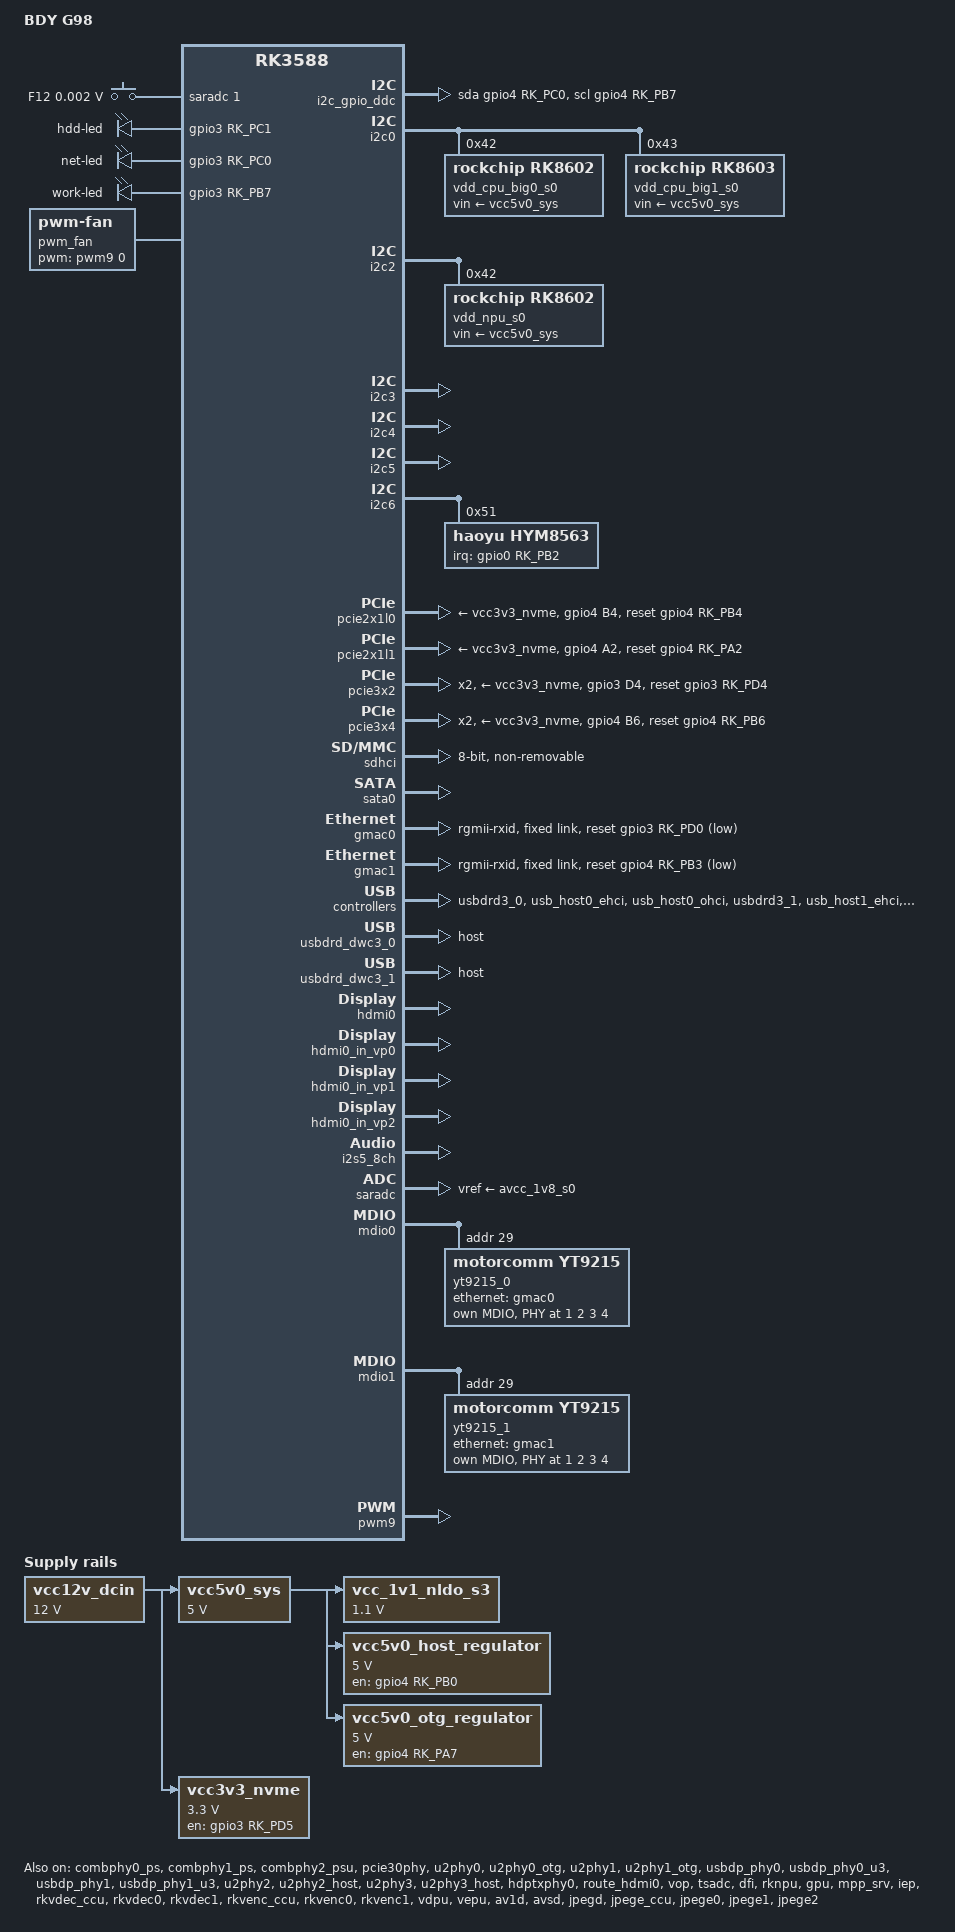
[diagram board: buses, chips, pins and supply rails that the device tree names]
// SPDX-License-Identifier: (GPL-2.0+ OR MIT)

/dts-v1/;

#include <dt-bindings/gpio/gpio.h>
#include <dt-bindings/input/input.h>
#include <dt-bindings/pinctrl/rockchip.h>
#include <dt-bindings/display/rockchip_vop.h>
#include "rk3588.dtsi"
#include "rk3588-rk806-single.dtsi"
#include "rk3588-linux.dtsi"

/ {
	model = "BDY G98";
	compatible = "bdy,bdy-g98", "rockchip,rk3588";

	aliases {
		mmc0 = &sdmmc;
		mmc1 = &sdio;
		mmc2 = &sdhci;
		ethernet0 = &gmac0;
		ethernet1 = &gmac1;
	};

	chosen {
		stdout-path = "serial2:1500000n8";

		/delete-property/ bootargs;
	};

	/*
	 * HDMI DDC over bitbanged GPIO. The dw-hdmi hardware DDC path on the
	 * hdmim0_tx0 pins only produces "i2c read err!" on this board; drive
	 * the same physical pins (GPIO4_B7=SCL, GPIO4_C0=SDA) with i2c-gpio.
	 */
	i2c_gpio_ddc: i2c-gpio-ddc {
		compatible = "i2c-gpio";
		#address-cells = <1>;
		#size-cells = <0>;
		scl-gpios = <&gpio4 RK_PB7 GPIO_ACTIVE_HIGH>;
		sda-gpios = <&gpio4 RK_PC0 GPIO_ACTIVE_HIGH>;
		i2c-gpio,delay-us = <5>;
		status = "okay";
	};

	/* System SRAM1 (1MB); first 512KB reserved for the rknpu driver. */
	sram@fd600000 {
		compatible = "mmio-sram";
		reg = <0x0 0xfd600000 0x0 0x100000>;
		#address-cells = <1>;
		#size-cells = <1>;
		ranges = <0x0 0x0 0xfd600000 0x100000>;

		rknpu_sram: rknpu-sram@0 {
			reg = <0x0 0x80000>;
		};
	};

	reserved-memory {
		cma {
			alloc-ranges = <0x1 0x00000000 0x3 0x00000000>;
			size = <0x0 0x20000000>;
		};
	};

	adc-keys {
		compatible = "adc-keys";
		io-channel-names = "buttons";
		io-channels = <&saradc 1>;
		keyup-threshold-microvolt = <0x1b7740>;
		poll-interval = <0x64>;
		status = "okay";

		recovery-key {
			label = "F12";
			linux,code = <0x58>;
			press-threshold-microvolt = <0x6d6>;
		};
	};

	// vcc12v_dcin
	vcc12v_dcin: vcc12v-dcin {
		compatible = "regulator-fixed";
		regulator-always-on;
		regulator-boot-on;
		regulator-min-microvolt = <12000000>;
		regulator-max-microvolt = <12000000>;
		regulator-name = "vcc12v_dcin";
	};

	// vcc5v0_sys
	vcc5v0_sys: vcc5v0-sys {
		compatible = "regulator-fixed";
		regulator-always-on;
		regulator-boot-on;
		regulator-min-microvolt = <5000000>;
		regulator-max-microvolt = <5000000>;
		regulator-name = "vcc5v0_sys";
		vin-supply = <&vcc12v_dcin>;
	};

	// vcc_1v1_nldo_s3
	vcc_1v1_nldo_s3: regulator-vcc-1v1-nldo-s3 {
		compatible = "regulator-fixed";
		regulator-name = "vcc_1v1_nldo_s3";
		regulator-always-on;
		regulator-boot-on;
		regulator-min-microvolt = <1100000>;
		regulator-max-microvolt = <1100000>;
		vin-supply = <&vcc5v0_sys>;
	};

	// vcc3v3-pcie30
	vcc3v3_nvme: vcc3v3-nvme {
		compatible = "regulator-fixed";
		regulator-min-microvolt = <3300000>;
		regulator-max-microvolt = <3300000>;
		regulator-name = "vcc3v3_nvme";
		vin-supply = <&vcc12v_dcin>;
		enable-active-high;
		gpios = <&gpio3 RK_PD5 GPIO_ACTIVE_HIGH>;
		startup-delay-us = <7500>;
		pinctrl-names = "default";
		pinctrl-0 = <&nvme_power_en>;
	};

	/*
	 * vcc5v0-host-regulator
	 * NOTE: the singular "gpio" property is not parsed by the fixed
	 * regulator driver (only "gpios"/"enable-gpios" are); kept as-is
	 * from the validated mainline dts — the pin is only muxed to GPIO
	 * by pinctrl and VBUS switch enable floats active on this board.
	 */
	vcc5v0_host_regulator: vcc5v0-host-regulator {
		compatible = "regulator-fixed";
		enable-active-high;
		gpio = <&gpio4 RK_PB0 GPIO_ACTIVE_HIGH>;
		pinctrl-names = "default";
		pinctrl-0 = <&vcc5v0_host_en>;
		regulator-name = "vcc5v0_host";
		regulator-boot-on;
		regulator-always-on;
		regulator-min-microvolt = <5000000>;
		regulator-max-microvolt = <5000000>;
		vin-supply = <&vcc5v0_sys>;
	};

	// vcc5v0-otg-regulator (same singular "gpio" caveat as above)
	vcc5v0_otg_regulator: vcc5v0-otg-regulator {
		compatible = "regulator-fixed";
		enable-active-high;
		gpio = <&gpio4 RK_PA7 GPIO_ACTIVE_HIGH>;
		pinctrl-names = "default";
		pinctrl-0 = <&vcc5v0_otg_en>;
		regulator-min-microvolt = <5000000>;
		regulator-max-microvolt = <5000000>;
		regulator-name = "vcc5v0_otg";
		vin-supply = <&vcc5v0_sys>;
	};

	leds {
		compatible = "gpio-leds";
		status = "okay";

		hdd-led {
			default-state = "off";
			gpios = <&gpio3 RK_PC1 GPIO_ACTIVE_HIGH>;
		};

		net-led {
			default-state = "off";
			gpios = <&gpio3 RK_PC0 GPIO_ACTIVE_HIGH>;
		};

		work-led {
			gpios = <&gpio3 RK_PB7 GPIO_ACTIVE_HIGH>;
			linux,default-trigger = "heartbeat";
		};
	};

	/* HDMI audio: i2s5_8ch -> hdmi0 (BSP "rockchip,hdmi" machine) */
	hdmi0_sound: hdmi0-sound {
		compatible = "rockchip,hdmi";
		rockchip,mclk-fs = <128>;
		rockchip,card-name = "rockchip-hdmi0";
		rockchip,cpu = <&i2s5_8ch>;
		rockchip,codec = <&hdmi0>;
		rockchip,jack-det;
		status = "okay";
	};

	pwm_fan: pwm-fan {
		compatible = "pwm-fan";
		pwms = <&pwm9 0 50000 0>;
		#cooling-cells = <2>;
		pulses-per-revolution = <2>;
		status = "okay";
	};
};

/* ===== CPU Power ===== */

&cpu_l0 {
	cpu-supply = <&vdd_cpu_lit_s0>;
	mem-supply = <&vdd_cpu_lit_s0>;
};

&cpu_l1 {
	cpu-supply = <&vdd_cpu_lit_s0>;
	mem-supply = <&vdd_cpu_lit_s0>;
};

&cpu_l2 {
	cpu-supply = <&vdd_cpu_lit_s0>;
	mem-supply = <&vdd_cpu_lit_s0>;
};

&cpu_l3 {
	cpu-supply = <&vdd_cpu_lit_s0>;
	mem-supply = <&vdd_cpu_lit_s0>;
};

&cpu_b0 {
	cpu-supply = <&vdd_cpu_big0_s0>;
	mem-supply = <&vdd_cpu_big0_s0>;
};

&cpu_b1 {
	cpu-supply = <&vdd_cpu_big0_s0>;
	mem-supply = <&vdd_cpu_big0_s0>;
};

&cpu_b2 {
	cpu-supply = <&vdd_cpu_big1_s0>;
	mem-supply = <&vdd_cpu_big1_s0>;
};

&cpu_b3 {
	cpu-supply = <&vdd_cpu_big1_s0>;
	mem-supply = <&vdd_cpu_big1_s0>;
};

&i2c0 {
	pinctrl-names = "default";
	pinctrl-0 = <&i2c0m2_xfer>;
	status = "okay";

	vdd_cpu_big0_s0: vdd_cpu_big0_mem_s0: rk8602@42 {
		compatible = "rockchip,rk8602";
		reg = <0x42>;
		rockchip,suspend-voltage-selector = <1>;
		regulator-compatible = "rk860x-reg";
		regulator-name = "vdd_cpu_big0_s0";
		regulator-always-on;
		regulator-boot-on;
		regulator-min-microvolt = <550000>;
		regulator-max-microvolt = <1050000>;
		regulator-ramp-delay = <2300>;
		vin-supply = <&vcc5v0_sys>;

		regulator-state-mem {
			regulator-off-in-suspend;
		};
	};

	vdd_cpu_big1_s0: vdd_cpu_big1_mem_s0: rk8603@43 {
		compatible = "rockchip,rk8603";
		reg = <0x43>;
		rockchip,suspend-voltage-selector = <1>;
		regulator-compatible = "rk860x-reg";
		regulator-name = "vdd_cpu_big1_s0";
		regulator-always-on;
		regulator-boot-on;
		regulator-min-microvolt = <550000>;
		regulator-max-microvolt = <1050000>;
		regulator-ramp-delay = <2300>;
		vin-supply = <&vcc5v0_sys>;

		regulator-state-mem {
			regulator-off-in-suspend;
		};
	};
};

/* ===== PMIC (rk806, via shared rk3588-rk806-single.dtsi) ===== */

&rk806single {
	system-power-controller;
};

/* ===== Suspend / poweroff ===== */

&rockchip_suspend {
	rockchip,virtual-poweroff = <1>;
	status = "okay";
};

/* ===== I2C / RTC ===== */

// i2c@fea90000
&i2c1 {
	pinctrl-names = "default";
	pinctrl-0 = <&i2c1m0_xfer>;
	status = "disabled";
};

// i2c2: i2c@feaa0000
&i2c2 {
	pinctrl-names = "default";
	pinctrl-0 = <&i2c2m0_xfer>;
	status = "okay";

	/* NPU core/mem rails are tied to the same rk8602 on this board */
	vdd_npu_s0: vdd_npu_mem_s0: rk8602@42 {
		compatible = "rockchip,rk8602";
		reg = <0x42>;
		rockchip,suspend-voltage-selector = <1>;
		regulator-compatible = "rk860x-reg";
		regulator-name = "vdd_npu_s0";
		regulator-always-on;
		regulator-boot-on;
		regulator-enable-ramp-delay = <500>;
		regulator-min-microvolt = <550000>;
		regulator-max-microvolt = <950000>;
		regulator-ramp-delay = <2300>;
		vin-supply = <&vcc5v0_sys>;

		regulator-state-mem {
			regulator-off-in-suspend;
		};
	};
};

// i2c3: i2c@feab0000
&i2c3 {
	pinctrl-names = "default";
	pinctrl-0 = <&i2c3m0_xfer>;
	status = "okay";
};

// i2c4: i2c@feac0000
&i2c4 {
	pinctrl-names = "default";
	pinctrl-0 = <&i2c4m3_xfer>;
	status = "okay";
};

// i2c5: i2c@fead0000 (dtsi default pinctrl: i2c5m0_xfer)
&i2c5 {
	status = "okay";
};

// i2c6: i2c@fec80000
&i2c6 {
	pinctrl-names = "default";
	pinctrl-0 = <&i2c6m0_xfer>;
	status = "okay";

	hym8563: rtc@51 {
		compatible = "haoyu,hym8563";
		reg = <0x51>;
		#clock-cells = <0>;
		clock-output-names = "hym8563";
		pinctrl-names = "default";
		pinctrl-0 = <&hym8563_int>;
		interrupt-parent = <&gpio0>;
		interrupts = <RK_PB2 IRQ_TYPE_LEVEL_LOW>;
		wakeup-source;
	};
};

/* ===== PCIe ===== */

// phy: phy@fee00000
&combphy0_ps {
	pinctrl-0 = <&sata0_pm_reset>;
	pinctrl-names = "default";
	status = "okay";
};

// phy: phy@fee10000
&combphy1_ps {
	status = "okay";
};

// phy: phy@fee20000
&combphy2_psu {
	status = "okay";
};

/*
 * phy: phy@fee80000
 * Mainline used data-lanes = <1 1 2 2> (lanes 0-1 -> PCIe3x4,
 * lanes 2-3 -> PCIe3x2); BSP expresses the same x2+x2 split as
 * PHY_MODE_PCIE_NANBNB (P1:PCIe3x2 + P0:PCIe3x2).
 */
&pcie30phy {
	rockchip,pcie30-phymode = <PHY_MODE_PCIE_NANBNB>;
	status = "okay";
};

// pcie2x1l0: pcie@fe170000 -> RTL8125 (0002:21:00.0)
&pcie2x1l0 {
	compatible = "rockchip,rk3588-pcie", "rockchip,rk3568-pcie";
	pinctrl-names = "default";
	pinctrl-0 = <&pcie2_0_rst>;
	supports-clkreq;
	/* Some board revisions wire PERST# to GPIO4_PB4 instead of GPIO1_PB4 */
	reset-gpios = <&gpio4 RK_PB4 GPIO_ACTIVE_HIGH>;
	vpcie3v3-supply = <&vcc3v3_nvme>;
	status = "okay";

	pcie@0,0 {
		reg = <0x00200000 0 0 0 0>;
		#address-cells = <3>;
		#size-cells = <2>;
		bus-range = <0x20 0x2f>;
		device_type = "pci";
		ranges;

		ethernet@0,0 {
			reg = <0x00210000 0 0 0 0>;
			r8125,led0 = <0x22b>;
			r8125,led1 = <0x22b>;
			r8125,led2 = <0x22b>;
			r8125,led3 = <0x22b>;
		};
	};
};

// pcie2x1l1: pcie@fe180000 -> RTL8125 (0003:31:00.0)
&pcie2x1l1 {
	compatible = "rockchip,rk3588-pcie", "rockchip,rk3568-pcie";
	pinctrl-names = "default";
	pinctrl-0 = <&pcie2_1_rst>;
	supports-clkreq;
	reset-gpios = <&gpio4 RK_PA2 GPIO_ACTIVE_HIGH>;
	vpcie3v3-supply = <&vcc3v3_nvme>;
	status = "okay";

	/* Same blank-EEPROM LED fix as pcie2x1l0 (endpoint 0003:31:00.0) */
	pcie@0,0 {
		reg = <0x00300000 0 0 0 0>;
		#address-cells = <3>;
		#size-cells = <2>;
		bus-range = <0x30 0x3f>;
		device_type = "pci";
		ranges;

		ethernet@0,0 {
			reg = <0x00310000 0 0 0 0>;
			r8125,led0 = <0x22b>;
			r8125,led1 = <0x22b>;
			r8125,led2 = <0x22b>;
			r8125,led3 = <0x22b>;
		};
	};
};

// pcie2x1l2: pcie@fe190000
&pcie2x1l2 {
	compatible = "rockchip,rk3588-pcie", "rockchip,rk3568-pcie";
	status = "disabled";
};

// pcie3x2: pcie@fe160000
&pcie3x2 {
	compatible = "rockchip,rk3588-pcie", "rockchip,rk3568-pcie";
	pinctrl-names = "default";
	pinctrl-0 = <&pcie3x2_rst>;
	num-lanes = <2>;
	reset-gpios = <&gpio3 RK_PD4 GPIO_ACTIVE_HIGH>;
	vpcie3v3-supply = <&vcc3v3_nvme>;
	status = "okay";
};

// pcie3x4: pcie@fe150000
&pcie3x4 {
	compatible = "rockchip,rk3588-pcie", "rockchip,rk3568-pcie";
	pinctrl-names = "default";
	pinctrl-0 = <&pcie3x4_rst>;
	num-lanes = <2>;
	reset-gpios = <&gpio4 RK_PB6 GPIO_ACTIVE_HIGH>;
	vpcie3v3-supply = <&vcc3v3_nvme>;
	status = "okay";
};

/* ===== Pin Control ===== */

&pinctrl {
	hym8563 {
		hym8563_int: hym8563-int {
			rockchip,pins = <0 RK_PB2 RK_FUNC_GPIO &pcfg_pull_up>;
		};
	};

	pcie {
		pcie2_0_rst: pcie2-0-rst {
			rockchip,pins = <4 RK_PB4 RK_FUNC_GPIO &pcfg_pull_none>;
		};

		pcie2_1_rst: pcie2-1-rst {
			rockchip,pins = <4 RK_PA2 RK_FUNC_GPIO &pcfg_pull_none>;
		};

		pcie3x2_rst: pcie3x2-rst {
			rockchip,pins = <3 RK_PD4 RK_FUNC_GPIO &pcfg_pull_none>;
		};

		pcie3x4_rst: pcie3x4-rst {
			rockchip,pins = <4 RK_PB6 RK_FUNC_GPIO &pcfg_pull_none>;
		};
	};

	nvme {
		nvme_power_en: nvme-power-en {
			rockchip,pins = <3 RK_PD5 RK_FUNC_GPIO &pcfg_pull_none>;
		};
	};

	usb {
		vcc5v0_host_en: vcc5v0-host-en {
			rockchip,pins = <4 RK_PB0 RK_FUNC_GPIO &pcfg_pull_none>;
		};

		vcc5v0_otg_en: vcc5v0-otg-en {
			rockchip,pins = <4 RK_PA7 RK_FUNC_GPIO &pcfg_pull_none>;
		};
	};

	sata {
		sata0_pm_reset: sata0-pm-reset {
			rockchip,pins = <0 RK_PD5 RK_FUNC_GPIO &pcfg_output_high>;
		};
	};
};

/* ===== Storage ===== */

// sdhci: mmc@fe2e0000
&sdhci {
	pinctrl-names = "default";
	pinctrl-0 = <&emmc_clk &emmc_cmd &emmc_bus8 &emmc_data_strobe &emmc_rstnout>;
	bus-width = <8>;
	no-sdio;
	no-sd;
	supports-emmc;
	non-removable;
	mmc-hs200-1_8v;
	status = "okay";
};

// sdmmc: mmc@fe2c0000
&sdmmc {
	status = "disabled";
};

// sdio: mmc@fe2d0000
&sdio {
	/delete-property/ pinctrl-0;
	/delete-property/ pinctrl-names;
	status = "disabled";
};

/* ===== SATA ===== */

// sata0: sata@fe210000
&sata0 {
	status = "okay";
};

/* ===== Ethernet ===== */

// gmac0: ethernet@fe1b0000
&gmac0 {
	clock_in_out = "output";
	phy-mode = "rgmii-rxid";
	tx_delay = <0x44>;
	pinctrl-0 = <&gmac0_miim &gmac0_tx_bus2 &gmac0_rx_bus2 &gmac0_rgmii_clk &gmac0_rgmii_bus>;
	pinctrl-names = "default";
	snps,reset-active-low;
	snps,reset-delays-us = <0x00 0x4e20 0x186a0>;
	snps,reset-gpio = <&gpio3 RK_PD0 GPIO_ACTIVE_LOW>;
	status = "okay";

	fixed-link {
		speed = <1000>;
		full-duplex;
		pause;
	};
};

// gmac1: ethernet@fe1c0000
&gmac1 {
	clock_in_out = "output";
	phy-mode = "rgmii-rxid";
	tx_delay = <0x42>;
	pinctrl-0 = <&gmac1_miim &gmac1_tx_bus2 &gmac1_rx_bus2 &gmac1_rgmii_clk &gmac1_rgmii_bus>;
	pinctrl-names = "default";
	snps,reset-active-low;
	snps,reset-delays-us = <0x00 0x4e20 0x186a0>;
	snps,reset-gpio = <&gpio4 RK_PB3 GPIO_ACTIVE_LOW>;
	status = "okay";

	fixed-link {
		speed = <1000>;
		full-duplex;
		pause;
	};
};

/* ===== UART ===== */

/*
 * BSP console is the fiq-debugger (ttyFIQ0) on uart2, already enabled by
 * rk3588-linux.dtsi; &uart2 itself stays disabled (unlike mainline).
 *
 * uart7m2 (feba0000) muxes to GPIO1_PB4/PB5. Historically pcie2_0_rst
 * was on GPIO1_PB4 and uart7 probing would steal the pinctrl, taking
 * the first 2.5G NIC down. Keep uart7 disabled: some board revisions
 * still use that pinout.
 */
&uart7 {
	status = "disabled";
};

/* ===== USB ===== */
&u2phy0 {
	status = "okay";
};

&u2phy0_otg {
	phy-supply = <&vcc5v0_otg_regulator>;
	status = "okay";
};

&u2phy1 {
	status = "okay";
};

&u2phy1_otg {
	phy-supply = <&vcc5v0_host_regulator>;
	status = "okay";
};

// usbdp_phy0: phy@fed80000
&usbdp_phy0 {
	rockchip,dp-lane-mux = <2 3>;
	status = "okay";
};

&usbdp_phy0_u3 {
	status = "okay";
};

// usbdp_phy1: phy@fed90000
&usbdp_phy1 {
	rockchip,dp-lane-mux = <2 3>;
	status = "okay";
};

&usbdp_phy1_u3 {
	status = "okay";
};

// u2phy2: usb2phy@8000
&u2phy2 {
	status = "okay";
};

&u2phy2_host {
	phy-supply = <&vcc5v0_host_regulator>;
	status = "okay";
};

// usbdrd3_0: usb3 wrapper @fcb00000 (disabled in dtsi; child enable alone is dead)
&usbdrd3_0 {
	status = "okay";
};

// usbdrd_dwc3_0: usb@fc000000 (host-only on this board)
&usbdrd_dwc3_0 {
	dr_mode = "host";
	status = "okay";
};

// usb_host0_ehci: usb@fc800000
&usb_host0_ehci {
	status = "okay";
};

// usb_host0_ohci: usb@fc840000
&usb_host0_ohci {
	status = "okay";
};

// u2phy3: usb2phy@c000
&u2phy3 {
	status = "okay";
};

&u2phy3_host {
	phy-supply = <&vcc5v0_host_regulator>;
	status = "okay";
};

// usbdrd3_1: usb3 wrapper @fcb40000 (disabled in dtsi; child enable alone is dead)
&usbdrd3_1 {
	status = "okay";
};

// usbdrd_dwc3_1: usb@fc400000 (host-only on this board)
&usbdrd_dwc3_1 {
	dr_mode = "host";
	status = "okay";
};

// usb_host1_ehci: usb@fc880000
&usb_host1_ehci {
	status = "okay";
};

// usb_host1_ohci: usb@fc8c0000
&usb_host1_ohci {
	status = "okay";
};

&usbhost3_0 {
	status = "okay";
};

&usbhost_dwc3_0 {
	status = "okay";
};

/* ===== HDMI / Display ===== */

// hdmiphy: hdmiphy@fed60000 (BSP vendor hdptx phy for hdmi0)
&hdptxphy0 {
	status = "okay";
};

// hdmi@fde80000
&hdmi0 {
	enable-gpios = <&gpio4 RK_PB1 GPIO_ACTIVE_HIGH>;

	ddc-i2c-bus = <&i2c_gpio_ddc>;
	pinctrl-0 = <&hdmim0_tx0_cec &hdmim0_tx0_hpd>;
	status = "okay";
};

&hdmi0_in_vp0 {
	status = "okay";
};

/* hdmi0 may also be fed from vp1/vp2 (BSP userspace VP switching) */
&hdmi0_in_vp1 {
	status = "okay";
};

&hdmi0_in_vp2 {
	status = "okay";
};

/* route_hdmi0 defaults to connect = <&vp0_out_hdmi0> in the dtsi */
&route_hdmi0 {
	status = "okay";
};

&i2s5_8ch {
	status = "okay";
};

&vop_mmu {
	status = "okay";
};

&vop {
	/* rockchip-vop2 fails probe with -ENODEV ("no regulator (vop) found") without this */
	vop-supply = <&vdd_log_s0>;
	status = "okay";
};

&vp0 {
	rockchip,plane-mask = <(1 << ROCKCHIP_VOP2_CLUSTER0 |
				1 << ROCKCHIP_VOP2_ESMART0)>;
	rockchip,primary-plane = <ROCKCHIP_VOP2_ESMART0>;
};

&vp1 {
	rockchip,plane-mask = <(1 << ROCKCHIP_VOP2_CLUSTER1 |
				1 << ROCKCHIP_VOP2_ESMART1)>;
	rockchip,primary-plane = <ROCKCHIP_VOP2_ESMART1>;
};

&vp2 {
	rockchip,plane-mask = <(1 << ROCKCHIP_VOP2_CLUSTER2 |
				1 << ROCKCHIP_VOP2_ESMART2)>;
	rockchip,primary-plane = <ROCKCHIP_VOP2_ESMART2>;
};

&vp3 {
	rockchip,plane-mask = <(1 << ROCKCHIP_VOP2_CLUSTER3 |
				1 << ROCKCHIP_VOP2_ESMART3)>;
	rockchip,primary-plane = <ROCKCHIP_VOP2_ESMART3>;
};

/* ===== Other ===== */

// saradc: adc@fec10000
&saradc {
	vref-supply = <&avcc_1v8_s0>;
	status = "okay";
};

// tsadc: tsadc@fec00000
&tsadc {
	/* BSP thermal driver bails out without the GRF phandle */
	rockchip,grf = <&sys_grf>;
	status = "okay";
};

// dfi@fe060000
&dfi {
	status = "okay";
};

/* ===== Switch (2x Motorcomm YT9215, DSA) ===== */
&mdio0 {
	status = "okay";

	yt9215_0: switch@1d {
		compatible = "motorcomm,yt9215";
		reg = <0x1d>;
		dsa,member = <1 0>;
		motorcomm,bdy-g98-led-profile;

		mdio {
			#address-cells = <1>;
			#size-cells = <0>;

			sw1phy1: phy@1 { reg = <1>; };
			sw1phy2: phy@2 { reg = <2>; };
			sw1phy3: phy@3 { reg = <3>; };
			sw1phy4: phy@4 { reg = <4>; };
		};

		ethernet-ports {
			#address-cells = <1>;
			#size-cells = <0>;

			ethernet-port@1 {
				reg = <0x01>;
				label = "lan5";
				phy-mode = "internal";
				phy-handle = <&sw1phy1>;
			};

			ethernet-port@2 {
				reg = <0x02>;
				label = "lan6";
				phy-mode = "internal";
				phy-handle = <&sw1phy2>;
			};

			ethernet-port@3 {
				reg = <0x03>;
				label = "lan7";
				phy-mode = "internal";
				phy-handle = <&sw1phy3>;
			};

			ethernet-port@4 {
				reg = <0x04>;
				label = "lan8";
				phy-mode = "internal";
				phy-handle = <&sw1phy4>;
			};

			ethernet-port@9 {
				reg = <0x09>;
				ethernet = <&gmac0>;
				phy-mode = "rgmii-txid";

				fixed-link {
					speed = <1000>;
					full-duplex;
					pause;
				};
			};
		};
	};
};

&mdio1 {
	status = "okay";

	yt9215_1: switch@1d {
		compatible = "motorcomm,yt9215";
		reg = <0x1d>;
		dsa,member = <0 0>;
		motorcomm,bdy-g98-led-profile;

		mdio {
			#address-cells = <1>;
			#size-cells = <0>;

			sw0phy1: phy@1 { reg = <1>; };
			sw0phy2: phy@2 { reg = <2>; };
			sw0phy3: phy@3 { reg = <3>; };
			sw0phy4: phy@4 { reg = <4>; };
		};

		ethernet-ports {
			#address-cells = <1>;
			#size-cells = <0>;

			ethernet-port@1 {
				reg = <0x01>;
				label = "lan1";
				phy-mode = "internal";
				phy-handle = <&sw0phy1>;
			};

			ethernet-port@2 {
				reg = <0x02>;
				label = "lan2";
				phy-mode = "internal";
				phy-handle = <&sw0phy2>;
			};

			ethernet-port@3 {
				reg = <0x03>;
				label = "lan3";
				phy-mode = "internal";
				phy-handle = <&sw0phy3>;
			};

			ethernet-port@4 {
				reg = <0x04>;
				label = "lan4";
				phy-mode = "internal";
				phy-handle = <&sw0phy4>;
			};

			ethernet-port@9 {
				reg = <0x09>;
				ethernet = <&gmac1>;
				phy-mode = "rgmii-txid";

				fixed-link {
					speed = <1000>;
					full-duplex;
					pause;
				};
			};
		};
	};
};

/* ===== NPU (BSP vendor rknpu driver, 3 cores behind one node) ===== */
&rknpu {
	reg = <0x0 0xfdab0000 0x0 0x5000>,
	      <0x0 0xfdac0000 0x0 0x5000>,
	      <0x0 0xfdad0000 0x0 0x5000>;
	rockchip,sram = <&rknpu_sram>;
	rknpu-supply = <&vdd_npu_s0>;
	mem-supply = <&vdd_npu_mem_s0>;
	status = "okay";
};

&rknpu_mmu {
	status = "okay";
};

/* ===== GPU (Mali-G610, BSP mali kbase driver) ===== */
&gpu {
	mali-supply = <&vdd_gpu_s0>;
	mem-supply = <&vdd_gpu_mem_s0>;
	status = "okay";
};

/* ===== VPU (video codecs, mpp service) ===== */

&mpp_srv {
	status = "okay";
};

/* 2D image enhancement processor */
&iep {
	status = "okay";
};

&iep_mmu {
	status = "okay";
};

&rkvdec_ccu {
	status = "okay";
};

&rkvdec0 {
	status = "okay";
};

&rkvdec0_mmu {
	status = "okay";
};

&rkvdec1 {
	status = "okay";
};

&rkvdec1_mmu {
	status = "okay";
};

&rkvenc_ccu {
	status = "okay";
};

&rkvenc0 {
	venc-supply = <&vdd_vdenc_s0>;
	mem-supply = <&vdd_vdenc_mem_s0>;
	status = "okay";
};

&rkvenc0_mmu {
	status = "okay";
};

&rkvenc1 {
	venc-supply = <&vdd_vdenc_s0>;
	mem-supply = <&vdd_vdenc_mem_s0>;
	status = "okay";
};

&rkvenc1_mmu {
	status = "okay";
};

/* legacy decoder/encoder block */
&vdpu {
	status = "okay";
};

&vdpu_mmu {
	status = "okay";
};

&vepu {
	status = "okay";
};

/* AV1 decoder */
&av1d {
	status = "okay";
};

&av1d_mmu {
	status = "okay";
};

/* AVS decoder */
&avsd {
	status = "okay";
};

/* JPEG codec */
&jpegd {
	status = "okay";
};

&jpegd_mmu {
	status = "okay";
};

&jpege_ccu {
	status = "okay";
};

&jpege0 {
	status = "okay";
};

&jpege0_mmu {
	status = "okay";
};

&jpege1 {
	status = "okay";
};

&jpege1_mmu {
	status = "okay";
};

&jpege2 {
	status = "okay";
};

&jpege2_mmu {
	status = "okay";
};

&jpege3 {
	status = "okay";
};

&jpege3_mmu {
	status = "okay";
};

/* ===== RGA (2D accelerator) ===== */
&rga2 {
	status = "okay";
};

&rga3_core0 {
	status = "okay";
};

&rga3_0_mmu {
	status = "okay";
};

&rga3_core1 {
	status = "okay";
};

&rga3_1_mmu {
	status = "okay";
};

/* ===== PWM Fan Controller ===== */
&pwm9 {
	pinctrl-names = "active";
	pinctrl-0 = <&pwm9m1_pins>;
	status = "okay";
};
